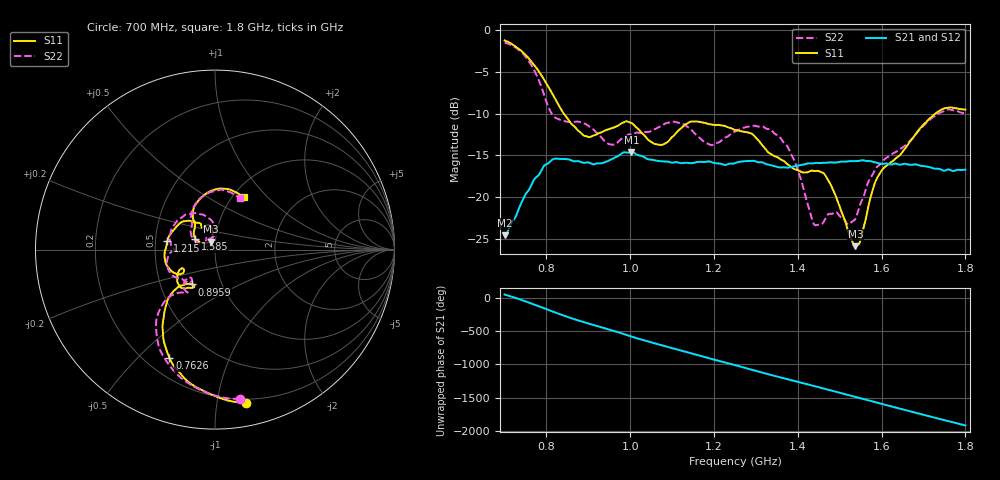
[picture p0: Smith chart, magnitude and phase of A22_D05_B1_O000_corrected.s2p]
! Created with skrf 1.9.0 (http://scikit-rf.org).
# Hz S RI R 50.0
!freq ReS11 ImS11 ReS21 ImS21 ReS12 ImS12 ReS22 ImS22
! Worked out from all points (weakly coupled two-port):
!   1601 points, 700 MHz to 1.8 GHz, reference 50 ohm
!   highest |S21| = -14.57 dB at 1.002 GHz (marker M1); lowest = -24.6 dB at 701.4 MHz (marker M2)
!   lowest |S11| = -25.9 dB at 1.537 GHz (marker M3), VSWR 1.11, Z = 47.5 + j4.28 ohm
!   |S11| at or under -10 dB: 841.4 MHz to 1.728 GHz (886.5 MHz wide, 69 % of centre)
!   |S22| runs from -23.4 to -1.5 dB; largest |S21 - S12| = 0.0035
!   S11 on the Smith chart (normalised r, x): 700 MHz: 0.17, -1.21; 762.6 MHz: 0.30, -0.62; 895.9 MHz: 0.72, -0.30; 1.215 GHz: 0.58, +0.06; 1.585 GHz: 0.80, +0.10; 1.8 GHz: 1.12, +0.74
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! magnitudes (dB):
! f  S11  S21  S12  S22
! 700 MHz  -1.2  -24.6  -24.3  -1.5
! 701.4 MHz  -1.2  -24.6  -24.2  -1.5
! 762.6 MHz  -3.7  -18.7  -18.7  -4.1
! 816.9 MHz  -7.8  -15.4  -15.5  -10.3
! 883.6 MHz  -12.4  -15.8  -15.7  -11.0
! 895.9 MHz  -12.7  -15.8  -15.9  -11.3
! 952.3 MHz  -11.8  -15.5  -15.5  -13.7
! 1.002 GHz  -11.1  -14.6  -14.7  -12.5
! 1.067 GHz  -13.7  -15.7  -15.6  -11.6
! 1.143 GHz  -11.0  -15.9  -15.9  -11.8
! 1.215 GHz  -11.4  -16.0  -16.0  -13.3
! 1.25 GHz  -11.9  -15.9  -15.9  -12.1
! 1.357 GHz  -15.4  -16.4  -16.4  -12.8
! 1.394 GHz  -16.7  -16.3  -16.3  -15.9
! 1.434 GHz  -16.8  -16.0  -15.9  -22.6
! 1.472 GHz  -18.0  -15.9  -15.9  -22.1
! 1.537 GHz  -25.9  -15.7  -15.7  -22.6
! 1.55 GHz  -25.0  -15.6  -15.6  -20.7
! 1.585 GHz  -18.1  -15.8  -15.8  -16.6
! 1.617 GHz  -16.0  -16.0  -16.0  -15.1
! 1.733 GHz  -9.8  -16.6  -16.6  -10.1
! 1.8 GHz  -9.5  -16.7  -16.7  -10.0
